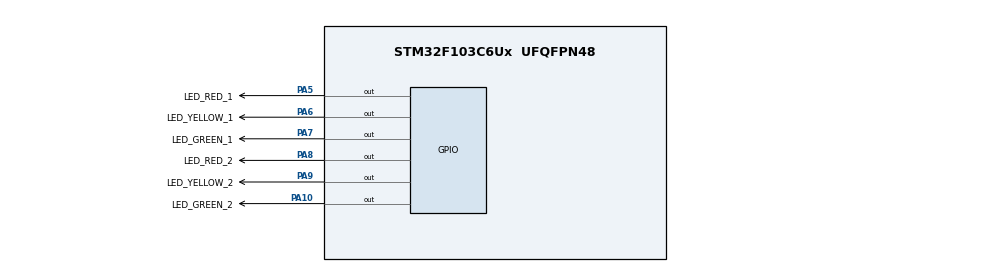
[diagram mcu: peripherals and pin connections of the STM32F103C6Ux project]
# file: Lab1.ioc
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Mcu.Family=STM32F1
Mcu.Name=STM32F103C6Ux
Mcu.Package=UFQFPN48
NVIC.PriorityGroup=NVIC_PRIORITYGROUP_4
PA10.GPIO_Label=LED_GREEN_2
PA10.Signal=GPIO_Output
PA5.GPIO_Label=LED_RED_1
PA5.Signal=GPIO_Output
PA6.GPIO_Label=LED_YELLOW_1
PA6.Signal=GPIO_Output
PA7.GPIO_Label=LED_GREEN_1
PA7.Signal=GPIO_Output
PA8.GPIO_Label=LED_RED_2
PA8.Signal=GPIO_Output
PA9.GPIO_Label=LED_YELLOW_2
PA9.Signal=GPIO_Output
ProjectManager.HeapSize=0x200
ProjectManager.StackSize=0x400
ProjectManager.TargetToolchain=STM32CubeIDE
RCC.APB1Freq_Value=8000000
RCC.APB2Freq_Value=8000000
VP_SYS_VS_ND.Mode=No_Debug
board=custom

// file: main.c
/* USER CODE BEGIN Header */
/**
  ******************************************************************************
  * @file           : main.c
  * @brief          : Main program body
  ******************************************************************************
  * @attention
  *
  * <h2><center>&copy; Copyright (c) 2022 STMicroelectronics.
  * All rights reserved.</center></h2>
  *
  * This software component is licensed by ST under BSD 3-Clause license,
  * the "License"; You may not use this file except in compliance with the
  * License. You may obtain a copy of the License at:
  *                        opensource.org/licenses/BSD-3-Clause
  *
  ******************************************************************************
  */
/* USER CODE END Header */
#include "main.h"

void SystemClock_Config(void);
static void MX_GPIO_Init(void);

int main(void)
{

  /* MCU Configuration--------------------------------------------------------*/

  /* Reset of all peripherals, Initializes the Flash interface and the Systick. */
  HAL_Init();

  /* Configure the system clock */
  SystemClock_Config();

  /* Initialize all configured peripherals */
  MX_GPIO_Init();
  /* USER CODE BEGIN 2 */
  int led_status_1 = 0, led_status_2 = 2; //0: turn GREEN on, 1: turn YELLOW on, 2: turn RED on
  int counter_1 = 0, counter_2 = 0; //counter for each traffic light
  const int counter_lst[3] = {3, 2, 5}; // (3: GREEN stays, 2: YELLOW stays, 5: RED stays) * 1000ms
  /* USER CODE END 2 */

  /* Infinite loop */
  while (1)
  {

    /* USER CODE BEGIN 3 */
	  if (counter_1 == 0){ // Check first traffic light
		counter_1 = counter_lst[led_status_1];	// set counter base on current led state
		switch(led_status_1){
			case 0: {  // turn GREEN on
				HAL_GPIO_WritePin(GPIOA, LED_YELLOW_1_Pin | LED_RED_1_Pin, 1);
				HAL_GPIO_WritePin(GPIOA, LED_GREEN_1_Pin, 0);
				led_status_1 = 1;
				break;
			}
			case 1: {	// turn YELLOW on
				HAL_GPIO_WritePin(GPIOA, LED_YELLOW_1_Pin, 0);
				HAL_GPIO_WritePin(GPIOA, LED_RED_1_Pin | LED_GREEN_1_Pin, 1);
				led_status_1 = 2;
				break;
			}
			case 2: {	// turn RED on
				HAL_GPIO_WritePin(GPIOA, LED_GREEN_1_Pin | LED_YELLOW_1_Pin, 1);
				HAL_GPIO_WritePin(GPIOA, LED_RED_1_Pin, 0);
				led_status_1 = 0;
				break;
			}
		}
	}

	if (counter_2 == 0){	// Check second traffic light
		counter_2 = counter_lst[led_status_1];	// set counter base on current led state
		switch(led_status_2){
			case 0: {  // turn GREEN on
				HAL_GPIO_WritePin(GPIOA, LED_YELLOW_2_Pin | LED_RED_2_Pin, 1);
				HAL_GPIO_WritePin(GPIOA, LED_GREEN_2_Pin, 0);
				led_status_2 = 1;
				break;
			}
			case 1: {	// turn YELLOW on
				HAL_GPIO_WritePin(GPIOA, LED_YELLOW_2_Pin, 0);
				HAL_GPIO_WritePin(GPIOA, LED_RED_2_Pin | LED_GREEN_2_Pin, 1);
				led_status_2 = 2;
				break;
			}
			case 2: {	// turn RED on
				HAL_GPIO_WritePin(GPIOA, LED_GREEN_2_Pin | LED_YELLOW_2_Pin, 1);
				HAL_GPIO_WritePin(GPIOA, LED_RED_2_Pin, 0);
				led_status_2 = 0;
				break;
			}
		}
	}
	counter_1--;
	counter_2--;
	HAL_Delay(1000);
  }
  /* USER CODE END 3 */
}

void SystemClock_Config(void)
{
  RCC_OscInitTypeDef RCC_OscInitStruct = {0};
  RCC_ClkInitTypeDef RCC_ClkInitStruct = {0};

  /** Initializes the RCC Oscillators according to the specified parameters
  * in the RCC_OscInitTypeDef structure.
  */
  RCC_OscInitStruct.OscillatorType = RCC_OSCILLATORTYPE_HSI;
  RCC_OscInitStruct.HSIState = RCC_HSI_ON;
  RCC_OscInitStruct.HSICalibrationValue = RCC_HSICALIBRATION_DEFAULT;
  RCC_OscInitStruct.PLL.PLLState = RCC_PLL_NONE;
  if (HAL_RCC_OscConfig(&RCC_OscInitStruct) != HAL_OK)
  {
    Error_Handler();
  }
  /** Initializes the CPU, AHB and APB buses clocks
  */
  RCC_ClkInitStruct.ClockType = RCC_CLOCKTYPE_HCLK|RCC_CLOCKTYPE_SYSCLK
                              |RCC_CLOCKTYPE_PCLK1|RCC_CLOCKTYPE_PCLK2;
  RCC_ClkInitStruct.SYSCLKSource = RCC_SYSCLKSOURCE_HSI;
  RCC_ClkInitStruct.AHBCLKDivider = RCC_SYSCLK_DIV1;
  RCC_ClkInitStruct.APB1CLKDivider = RCC_HCLK_DIV1;
  RCC_ClkInitStruct.APB2CLKDivider = RCC_HCLK_DIV1;

  if (HAL_RCC_ClockConfig(&RCC_ClkInitStruct, FLASH_LATENCY_0) != HAL_OK)
  {
    Error_Handler();
  }
}

static void MX_GPIO_Init(void)
{
  GPIO_InitTypeDef GPIO_InitStruct = {0};

  /* GPIO Ports Clock Enable */
  __HAL_RCC_GPIOA_CLK_ENABLE();

  /*Configure GPIO pin Output Level */
  HAL_GPIO_WritePin(GPIOA, LED_RED_1_Pin|LED_YELLOW_1_Pin|LED_GREEN_1_Pin|LED_RED_2_Pin
                          |LED_YELLOW_2_Pin|LED_GREEN_2_Pin, GPIO_PIN_RESET);

  /*Configure GPIO pins : LED_RED_1_Pin LED_YELLOW_1_Pin LED_GREEN_1_Pin LED_RED_2_Pin
                           LED_YELLOW_2_Pin LED_GREEN_2_Pin */
  GPIO_InitStruct.Pin = LED_RED_1_Pin|LED_YELLOW_1_Pin|LED_GREEN_1_Pin|LED_RED_2_Pin
                          |LED_YELLOW_2_Pin|LED_GREEN_2_Pin;
  GPIO_InitStruct.Mode = GPIO_MODE_OUTPUT_PP;
  GPIO_InitStruct.Pull = GPIO_NOPULL;
  GPIO_InitStruct.Speed = GPIO_SPEED_FREQ_LOW;
  HAL_GPIO_Init(GPIOA, &GPIO_InitStruct);

}

void Error_Handler(void)
{
  __disable_irq();
  while (1)
  {
  }
}

/************************ (C) COPYRIGHT STMicroelectronics *****END OF FILE****/
